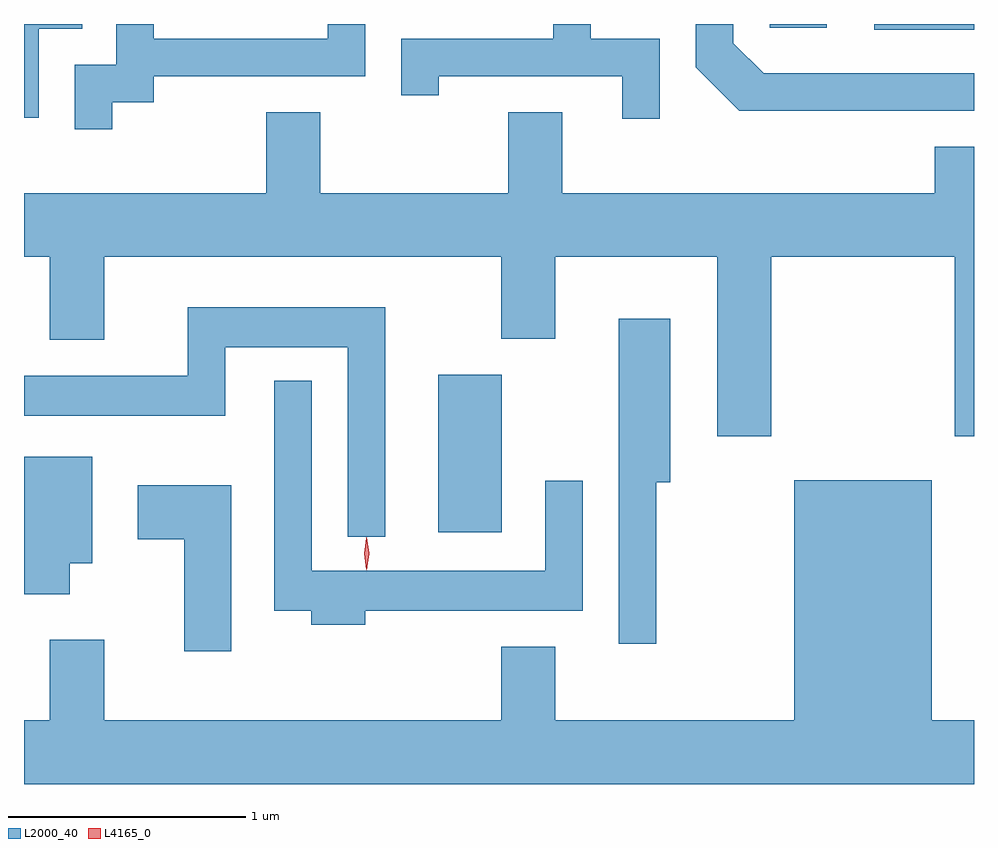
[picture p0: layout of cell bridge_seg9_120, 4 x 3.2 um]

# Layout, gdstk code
import gdstk
lib = gdstk.Library(unit=1e-6, precision=1e-09)
def R(c, l, rs):  # rectangles x0, y0, x1, y1
    for r in rs: c.add(gdstk.rectangle(r[:2], r[2:], *l))
def P(c, l, *ps):  # polygons
    for p in ps: c.add(gdstk.Polygon(p, *l))
L2000_40 = (2000, 40)
L4165_0 = (4165, 0)

bridge_seg9_120 = lib.new_cell('bridge_seg9_120')
R(bridge_seg9_120, L2000_40, [(1371.136,2072.796,1371.404,2073.459), (1372.973,2074.911,1373.392,2074.936), (1372.531,2074.921,1372.773,2074.936)])
P(bridge_seg9_120, L2000_40, [(1369.764,2074.606),(1369.939,2074.606),(1369.939,2074.716),(1370.829,2074.716),(1370.829,2074.936),(1370.671,2074.936),(1370.671,2074.874),(1369.939,2074.874),(1369.939,2074.936),(1369.781,2074.936),(1369.781,2074.764),(1369.606,2074.764),(1369.606,2074.492),(1369.764,2074.492)],
  [(1369.454,2074.916),(1369.638,2074.916),(1369.638,2074.936),(1369.392,2074.936),(1369.392,2074.541),(1369.454,2074.541)],
  [(1372.069,2074.874),(1371.779,2074.874),(1371.779,2074.936),(1371.621,2074.936),(1371.621,2074.874),(1370.981,2074.874),(1370.981,2074.637),(1371.139,2074.637),(1371.139,2074.716),(1371.911,2074.716),(1371.911,2074.538),(1372.069,2074.538)],
  [(1373.392,2074.729),(1372.507,2074.729),(1372.379,2074.856),(1372.379,2074.936),(1372.221,2074.936),(1372.221,2074.754),(1372.404,2074.571),(1373.392,2074.571)],
  [(1372.539,2073.956),(1373.311,2073.956),(1373.311,2073.201),(1373.392,2073.201),(1373.392,2074.419),(1373.226,2074.419),(1373.226,2074.224),(1371.659,2074.224),(1371.659,2074.564),(1371.431,2074.564),(1371.431,2074.224),(1370.639,2074.224),(1370.639,2074.564),(1370.411,2074.564),(1370.411,2074.224),(1369.392,2074.224),(1369.392,2073.956),(1369.501,2073.956),(1369.501,2073.606),(1369.729,2073.606),(1369.729,2073.956),(1371.401,2073.956),(1371.401,2073.611),(1371.629,2073.611),(1371.629,2073.956),(1372.311,2073.956),(1372.311,2073.201),(1372.539,2073.201)],
  [(1370.914,2073.744),(1370.081,2073.744),(1370.081,2073.454),(1369.392,2073.454),(1369.392,2073.286),(1370.239,2073.286),(1370.239,2073.576),(1370.756,2073.576),(1370.756,2072.778),(1370.914,2072.778)],
  [(1372.054,2073.006),(1372.114,2073.006),(1372.114,2073.694),(1371.896,2073.694),(1371.896,2072.327),(1372.054,2072.327)],
  [(1370.829,2072.466),(1371.744,2072.466),(1371.744,2073.012),(1371.586,2073.012),(1371.586,2072.634),(1370.604,2072.634),(1370.604,2073.433),(1370.446,2073.433),(1370.446,2072.466),(1370.601,2072.466),(1370.601,2072.406),(1370.829,2072.406)],
  [(1369.584,2072.666),(1369.679,2072.666),(1369.679,2073.114),(1369.392,2073.114),(1369.392,2072.536),(1369.584,2072.536)],
  [(1373.392,2072.004),(1373.214,2072.004),(1373.214,2073.014),(1372.636,2073.014),(1372.636,2072.004),(1371.629,2072.004),(1371.629,2072.314),(1371.401,2072.314),(1371.401,2072.004),(1369.729,2072.004),(1369.729,2072.344),(1369.501,2072.344),(1369.501,2072.004),(1369.392,2072.004),(1369.392,2071.736),(1373.392,2071.736)],
  [(1370.264,2072.994),(1369.871,2072.994),(1369.871,2072.766),(1370.066,2072.766),(1370.066,2072.296),(1370.264,2072.296)])
P(bridge_seg9_120, L4165_0, [(1370.835,2072.637),(1370.835,2072.637),(1370.825,2072.707),(1370.835,2072.776),(1370.835,2072.776),(1370.836,2072.776),(1370.845,2072.707),(1370.836,2072.637)],
  [(1370.835,2072.639),(1370.834,2072.64),(1370.825,2072.706),(1370.834,2072.772),(1370.835,2072.773),(1370.836,2072.772),(1370.845,2072.706),(1370.836,2072.64)])

lib.write_gds('bridge_seg9_120.gds')
